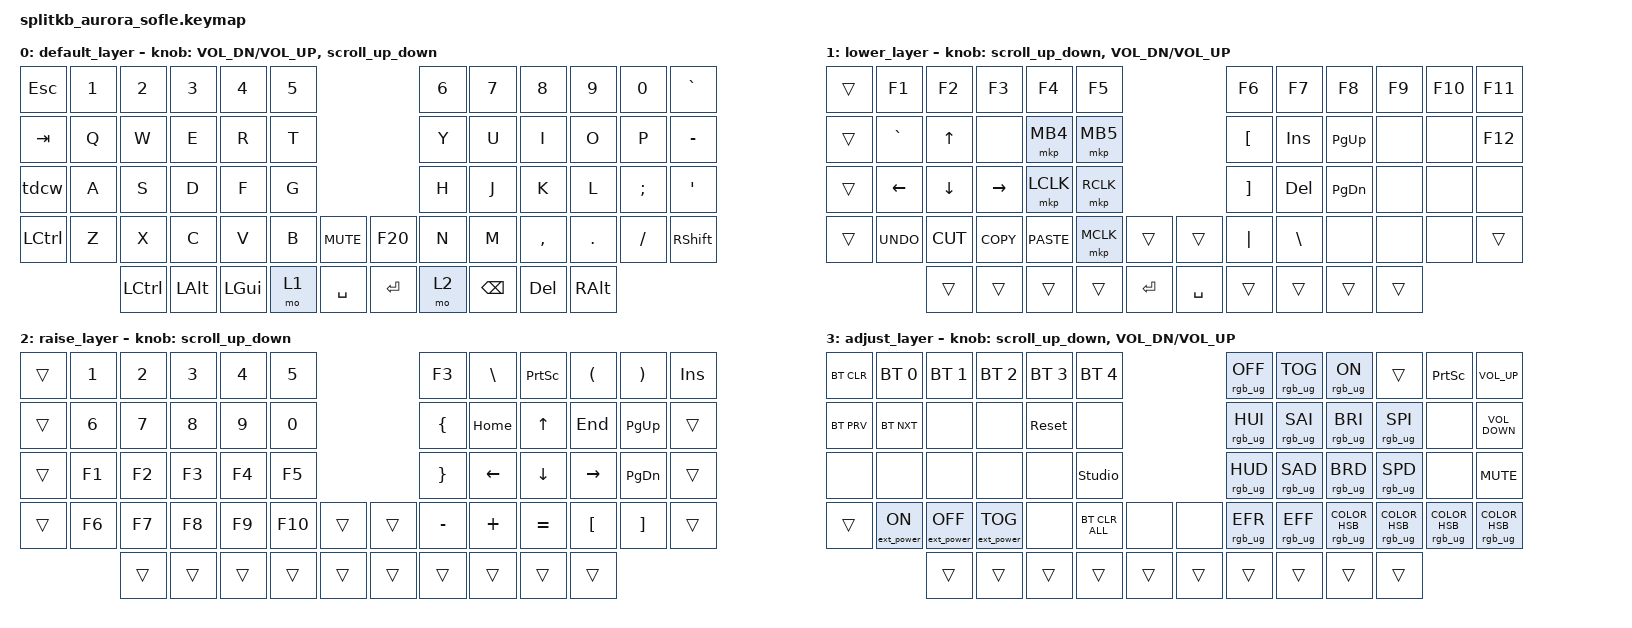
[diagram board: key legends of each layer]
/*
 * Copyright (c) 2023 The ZMK Contributors
 *
 * SPDX-License-Identifier: MIT
 */
// #define ZMK_POINTING_DEFAULT_MOVE_VAL 1500  // default: 600

#define ZMK_POINTING_DEFAULT_SCRL_VAL 160    // default: 10

#include <behaviors.dtsi>
#include <dt-bindings/zmk/bt.h>
#include <dt-bindings/zmk/ext_power.h>
#include <dt-bindings/zmk/keys.h>
#include <dt-bindings/zmk/pointing.h>
#include <dt-bindings/zmk/rgb.h>

&led_strip {
    // chain-length = <6>;

    chain-length = <35>; // Uncomment if using both per-key and underglow LEDs
    // chain-length = <29>; // Uncomment if using only per-key LEDs.
};

nice_view_spi: &spi0 { cs-gpios = <&pro_micro 0 GPIO_ACTIVE_HIGH>; };

/ {
    behaviors {
        scroll_up_down: behavior_sensor_rotate_mouse_wheel_up_down {
            compatible = "zmk,behavior-sensor-rotate";
            #sensor-binding-cells = <0>;
            bindings = <&msc SCRL_DOWN>, <&msc SCRL_UP>;

            tap-ms = <20>;
        };

        tdcw: tap_dance_caps_word {
            compatible = "zmk,behavior-tap-dance";
            #binding-cells = <0>;
            tapping-term-ms = <200>;
            bindings = <&kp LEFT_SHIFT>, <&caps_word>;
        };
    };

    keymap {
        compatible = "zmk,keymap";

        default_layer {
            // ------------------------------------------------------------------------------------------------------------
            // |  ESC  |  1  |  2  |  3   |  4   |  5   |                   |  6   |  7    |  8    |  9   |   0   |   `   |
            // |  TAB  |  Q  |  W  |  E   |  R   |  T   |                   |  Y   |  U    |  I    |  O   |   P   |   -   |
            // |  CTRL |  A  |  S  |  D   |  F   |  G   |                   |  H   |  J    |  K    |  L   |   ;   |   '   |
            // | SHIFT |  Z  |  X  |  C   |  V   |  B   |   "["  |  |  "]"  |  N   |  M    |  ,    |  .   |   /   | SHIFT |
            //               |CTRL | ALT  | GUI  | LOWER|  SPACE |  | ENTER | RAISE| BSPC  | GUI   | RALT |

            bindings = <
&kp ESC           &kp N1  &kp N2     &kp N3    &kp N4    &kp N5                         &kp N6  &kp N7    &kp N8     &kp N9    &kp N0    &kp GRAVE
&kp TAB           &kp Q   &kp W      &kp E     &kp R     &kp T                          &kp Y   &kp U     &kp I      &kp O     &kp P     &kp MINUS
&tdcw             &kp A   &kp S      &kp D     &kp F     &kp G                          &kp H   &kp J     &kp K      &kp L     &kp SEMI  &kp SQT
&kp LEFT_CONTROL  &kp Z   &kp X      &kp C     &kp V     &kp B   &kp K_MUTE    &kp F20  &kp N   &kp M     &kp COMMA  &kp DOT   &kp FSLH  &kp RSHFT
                          &kp LCTRL  &kp LALT  &kp LGUI  &mo 1   &kp SPACE     &kp RET  &mo 2   &kp BSPC  &kp DEL    &kp RALT
            >;

            sensor-bindings = <&inc_dec_kp C_VOL_DN C_VOL_UP &scroll_up_down>;
        };

        lower_layer {
            // ------------------------------------------------------------------------------------------------------------
            // | BTCLR | BT1 | BT2 |  BT3 |  BT4 |  BT5 |                   |      |       |       |      |       |       |
            // |  F1   |  F2 |  F3 |  F4  |  F5  |  F6  |                   |  F7  |  F8   |  F9   |  F10 |  F11  |  F12  |
            // |   `   |  !  |  @  |  #   |  $   |  %   |                   |  ^   |  &    |  *    |  (   |   )   |   ~   |
            // |       |     |     |      |      |      |        |  |       |      |  _    |  +    |  {   |   }   |  "|"  |
            //               |     |      |      |      |        |  |       |      |       |       |      |

            bindings = <
&trans  &kp F1      &kp F2     &kp F3      &kp F4       &kp F5                             &kp F6             &kp F7         &kp F8         &kp F9  &kp F10  &kp F11
&trans  &kp GRAVE   &kp UP     &none       &mkp MB4     &mkp MB5                           &kp LEFT_BRACKET   &kp INSERT     &kp PAGE_UP    &none   &none    &kp F12
&trans  &kp LEFT    &kp DOWN   &kp RIGHT   &mkp LCLK    &mkp RCLK                          &kp RIGHT_BRACKET  &kp DEL        &kp PAGE_DOWN  &none   &none    &none
&trans  &kp K_UNDO  &kp K_CUT  &kp K_COPY  &kp K_PASTE  &mkp MCLK  &trans       &trans     &kp PIPE           &kp BACKSLASH  &none          &none   &none    &trans
                    &trans     &trans      &trans       &trans     &kp ENTER    &kp SPACE  &trans             &trans         &trans         &trans
            >;

            sensor-bindings = <&scroll_up_down &inc_dec_kp C_VOL_DN C_VOL_UP>;
        };

        raise_layer {
            // ------------------------------------------------------------------------------------------------------------
            // |       |     |     |      |      |      |                   |      |       |       |      |       |       |
            // |   `   |  1  |  2  |  3   |  4   |  5   |                   |  6   |   7   |   8   |  9   |   0   |       |
            // |   F1  |  F2 |  F3 |  F4  |  F5  |  F6  |                   |      |   <-  |   v   |  ^   |  ->   |       |
            // |   F7  |  F8 |  F9 |  F10 |  F11 |  F12 |        |  |       |  -   |   +   |   =   |  [   |   ]   |   \   |
            //               |     |      |      |      |        |  |       |      |       |       |      |

            bindings = <
&trans  &kp N1  &kp N2  &kp N3  &kp N4  &kp N5                     &kp F3           &kp BSLH   &kp PRINTSCREEN  &kp LEFT_PARENTHESIS  &kp RIGHT_PARENTHESIS  &kp INS
&trans  &kp N6  &kp N7  &kp N8  &kp N9  &kp N0                     &kp LEFT_BRACE   &kp HOME   &kp UP           &kp END               &kp PG_UP              &trans
&trans  &kp F1  &kp F2  &kp F3  &kp F4  &kp F5                     &kp RIGHT_BRACE  &kp LEFT   &kp DOWN         &kp RIGHT             &kp PG_DN              &trans
&trans  &kp F6  &kp F7  &kp F8  &kp F9  &kp F10  &trans    &trans  &kp MINUS        &kp PLUS   &kp EQUAL        &kp LBKT              &kp RBKT               &trans
                &trans  &trans  &trans  &trans   &trans    &trans  &trans           &trans     &trans           &trans
            >;

            sensor-bindings = <&scroll_up_down>;
        };

        adjust_layer {
            bindings = <
&bt BT_CLR  &bt BT_SEL 0      &bt BT_SEL 1       &bt BT_SEL 2       &bt BT_SEL 3  &bt BT_SEL 4                      &rgb_ug RGB_OFF  &rgb_ug RGB_TOG  &rgb_ug RGB_ON                    &trans                             &kp PRINTSCREEN                   &kp C_VOL_UP
&bt BT_PRV  &bt BT_NXT        &none              &none              &sys_reset    &none                             &rgb_ug RGB_HUI  &rgb_ug RGB_SAI  &rgb_ug RGB_BRI                   &rgb_ug RGB_SPI                    &none                             &kp C_VOLUME_DOWN
&none       &none             &none              &none              &none         &studio_unlock                    &rgb_ug RGB_HUD  &rgb_ug RGB_SAD  &rgb_ug RGB_BRD                   &rgb_ug RGB_SPD                    &none                             &kp K_MUTE
&trans      &ext_power EP_ON  &ext_power EP_OFF  &ext_power EP_TOG  &none         &bt BT_CLR_ALL  &none     &none   &rgb_ug RGB_EFR  &rgb_ug RGB_EFF  &rgb_ug RGB_COLOR_HSB(205,75,67)  &rgb_ug RGB_COLOR_HSB(115,100,42)  &rgb_ug RGB_COLOR_HSB(27,100,49)  &rgb_ug RGB_COLOR_HSB(0,100,100)
                              &trans             &trans             &trans        &trans          &trans    &trans  &trans           &trans           &trans                            &trans
            >;

            sensor-bindings = <&scroll_up_down &inc_dec_kp C_VOL_DN C_VOL_UP>;
        };
    };

    conditional_layers {
        compatible = "zmk,conditional-layers";

        adjust {
            if-layers = <1 2>;
            then-layer = <3>;
        };
    };
};
